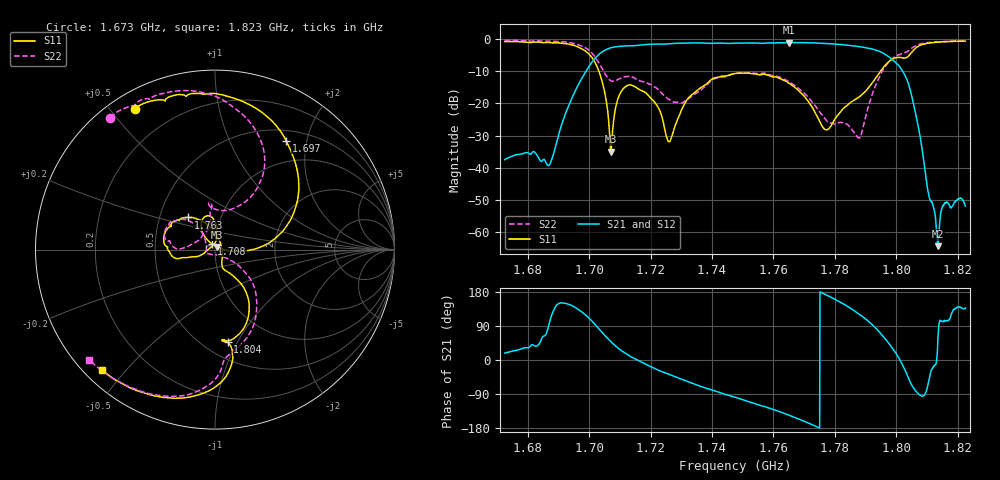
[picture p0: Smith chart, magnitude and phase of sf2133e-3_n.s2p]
# Hz S RI R 50
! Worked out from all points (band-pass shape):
!   1601 points, 1.673 GHz to 1.823 GHz, reference 50 ohm
!   highest |S21| = -1.16 dB at 1.765 GHz (marker M1); lowest = -64.3 dB at 1.813 GHz (marker M2)
!   |S21| within 3 dB of the highest: 1.704 GHz to 1.795 GHz (91.08 MHz wide, 5.21 % of centre)
!   lowest |S11| = -35.0 dB at 1.707 GHz (marker M3), VSWR 1.04, Z = 50.9 + j1.55 ohm
!   |S11| at or under -10 dB: 1.703 GHz to 1.795 GHz (91.69 MHz wide, 5.24 % of centre)
!   |S22| runs from -30.8 to -0.5 dB; largest |S21 - S12| = 0.0016
!   S11 on the Smith chart (normalised r, x): 1.673 GHz: 0.07, +0.58; 1.697 GHz: 0.65, +1.66; 1.708 GHz: 0.96, +0.06; 1.763 GHz: 0.70, +0.27; 1.804 GHz: 0.65, -0.91; 1.823 GHz: 0.05, -0.43
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1.6725e9  -0.4453 0.7851  0.0127 0.00415  0.0127 0.00408  -0.5842 0.735
1.687031e9  -0.094 0.8702  -0.00121 0.0109  -0.00116 0.0109  -0.3204 0.8628
1.696969e9  0.3964 0.6073  -0.1393 0.1619  -0.1385 0.1613  0.1151 0.7833
1.697531e9  0.416 0.5652  -0.1453 0.1895  -0.1445 0.1887  0.1434 0.7617
1.703438e9  0.2897 0.031  0.1017 0.5774  0.1008 0.5765  0.2293 0.3334
1.707094e9  0.00925 0.0152  0.4848 0.5425  0.4841 0.5423  0.0512 0.2174
1.707656e9  -0.0182 0.033  0.5331 0.5111  0.5322 0.5109  0.0283 0.2186
1.712344e9  -0.0634 0.1772  0.7524 0.199  0.7521 0.1988  -0.0349 0.2584
1.722562e9  0.0101 0.0844  0.7382 -0.3769  0.738 -0.377  -0.0235 0.1618
1.726125e9  -0.0194 0.0164  0.6641 -0.5174  0.664 -0.5176  -0.045 0.1044
1.732688e9  -0.1199 -0.0395  0.449 -0.7361  0.4487 -0.736  -0.1145 0.0367
1.7475e9  -0.2859 0.0476  -0.1206 -0.848  -0.1212 -0.8478  -0.2809 0.0736
1.763062e9  -0.1479 0.179  -0.662 -0.5661  -0.6615 -0.566  -0.175 0.1687
1.765031e9  -0.1093 0.1743  -0.7215 -0.4952  -0.7213 -0.495  -0.1451 0.1602
1.772531e9  0.0048 0.0883  -0.8535 -0.1437  -0.8539 -0.1436  -0.0663 0.0836
1.777406e9  0.0388 0.0022  -0.8342 0.1306  -0.8346 0.1306  -0.0484 0.022
1.787906e9  0.0538 -0.1137  -0.3937 0.6445  -0.3939 0.6444  -0.00144 -0.0288
1.797562e9  0.1761 -0.4057  0.3794 0.3682  0.3788 0.3678  0.2273 -0.3723
1.803562e9  0.0706 -0.5145  0.1742 -0.1449  0.174 -0.1444  0.0447 -0.6312
1.8135e9  -0.3682 -0.8063  0.000428 0.000437  0.000466 0.000415  -0.4676 -0.7685
1.81575e9  -0.4521 -0.7786  -0.000642 0.00279  -0.000697 0.00277  -0.543 -0.7308
1.8225e9  -0.6298 -0.6724  -0.00187 0.00173  -0.00185 0.00177  -0.6997 -0.6143
